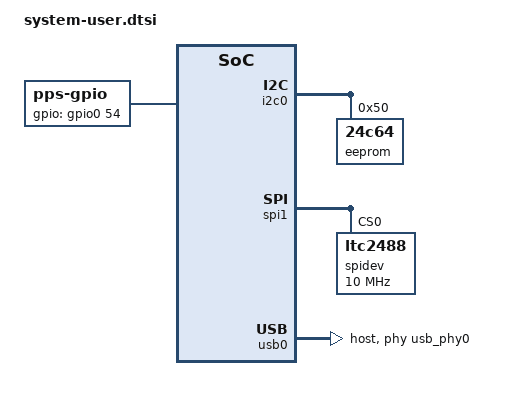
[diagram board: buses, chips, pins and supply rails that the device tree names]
#include <dt-bindings/phy/phy.h>
// Reference:
// https://github.com/pavel-demin/red-pitaya-notes/blob/cc13b6aa6c375b149940492cfa906fe693e0f046/dts/common.dts

// I2C attached EEPROM
&i2c0 {
    eeprom@50 {
        compatible = "24c64";
        size = <8192>;
        pagesize = <32>;
        reg = <0x50>;
        // TODO: Contains the mac address?
		/* mac_address: mac-address@9A { */
		/* 	reg = <0x9A 6>; */
		/* }; */
    };
};

// User SPI (attached to pin headers)
&spi1 {
  spidev@0 {
    compatible = "ltc2488";
    reg = <0x0>;
    spi-max-frequency = <10000000>;
  };
};

// USB
&usb0 {
    dr_mode = "host";
    usb-phy = <&usb_phy0>;
    xlnx,phy-reset-gpio = <&gpio0 48 0>;
};

/ {
  usb_phy0: phy0 {
    #phy-cells = <0>;
    compatible = "ulpi-phy";
    reg = <0xe0002000 0x1000>;
    view-port = <0x0170>;
    drv-vbus;
  };
  pps {
    compatible = "pps-gpio";
    gpios = <&gpio0 54 0>;
    capture-clear;
  };
};

// Other
/ {
	chosen {
        // For ramfs make sure to set root correctly (and package the root filesystem with the boot image -> see image.its)
		// bootargs = " earlycon console=ttyPS0,115200 clk_ignore_unused root=/dev/ram0 rw net.ifnames=0 biosdevname=0 cma=128M";
        // Use second partition of sd card as root (persistent filesystem)
		bootargs = " earlycon console=ttyPS0,115200 clk_ignore_unused root=/dev/mmcblk0p2 rw net.ifnames=0 biosdevname=0 cma=128M";
		stdout-path = "serial0:115200n8";
	};

	reserved-memory {
		#address-cells = <1>;
		#size-cells = <1>;
		ranges;

        cma_reserved: cma@0 {
            compatible = "shared-dma-pool";
            reusable;
            reg = <0x30000000 0x08000000>; /* 128 MB at 768 MB */
            alignment = <0 0x1000>; /* 4 kB aligned */
            no-map;
        };
	};
	axi_stream_dma_0@b0000000 {
		compatible = "axi_stream_dma";
		reg = <0xb0000000 0x10000>;
		interrupts = <0 29 4>;
        // Of CoURse the interupt parent has another label for the ultra scale device tree...
        // ultrascale: gic
        // 7series: intc
        // Why Xilinx, why?
		interrupt-parent = <&intc>;
        // AXI HP interfaces are not coherent, so do not set coherent here.
        // The ACP interface would be coherent so if that is used, coherent can be set 
        // here (probably) to let the dma driver know so it can initialize memory 
        // accordingly.
        // dma-coherent;  // Set to use coherent dma ops
	};
};
